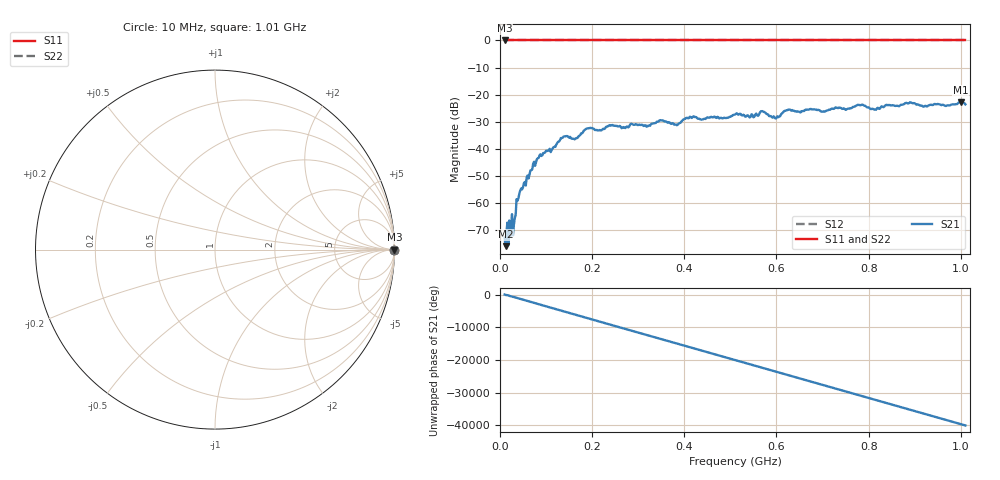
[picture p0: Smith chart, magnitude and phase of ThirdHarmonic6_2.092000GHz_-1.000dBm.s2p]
! 8/17/2025 1:02:26 AM
! C:\ANRITSUVNA\TEMP\TEMP.S2P
! CHANNEL.1
! TR.MEASUREMENT
! RAW.DATA
! RF.CORRECTION.OFF
! AVERAGING.OFF
! IF.BANDWIDTH: 5KHZ
! SWEEPTYPE:  FREQ.SWEEP(Linear)
! Reference Plane Port Info
! PORT:  PORT1  PORT2
! DISTANCE:  0  m  0  m
! TIME:  0  s  0  s
! PHASE.OFFSET:  0  deg.  0  deg.
! LOSS:  0  dB  0  dB
! REF.LOSS:  0  dB  0  dB
! REF.FREQ:  0  Hz  0  Hz
! Power Info
! POWER:  -20  dBm  -20  dBm
! EFF.POWER:  -20  dBm  -20  dBm
! SOURCE.ATTEN:  0  dB  0  dB
! TEST.ATTEN:  0  dB  0  dB
# GHZ S RI R 50.0
! FREQ.GHZ  S11RE  S11IM  S21RE  S21IM  S12RE  S12IM  S22RE  S22IM
!; PortSelection: Port_12
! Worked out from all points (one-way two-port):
!   501 points, 10 MHz to 1.01 GHz, reference 50 ohm
!   highest |S21| = -22.75 dB at 1 GHz (marker M1); lowest = -75.8 dB at 12 MHz (marker M2)
!   lowest |S11| = 0.0 dB at 10 MHz (marker M3)
!   |S11| at or under -10 dB: nowhere
!   |S22| runs from 0.0 to 0.0 dB; largest |S21 - S12| = 1.1
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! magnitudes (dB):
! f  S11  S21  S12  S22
! 10 MHz  0.0  -72.6  0.0  0.0
! 12 MHz  0.0  -75.8  0.0  0.0
! 26 MHz  0.0  -64.0  0.0  0.0
! 32 MHz  0.0  -65.5  0.0  0.0
! 40 MHz  0.0  -58.1  0.0  0.0
! 84 MHz  0.0  -43.3  0.0  0.0
! 136 MHz  0.0  -35.8  0.0  0.0
! 164 MHz  0.0  -36.1  0.0  0.0
! 178 MHz  0.0  -34.2  0.0  0.0
! 192 MHz  0.0  -32.4  0.0  0.0
! 322 MHz  0.0  -31.3  0.0  0.0
! 344 MHz  0.0  -29.8  0.0  0.0
! 382 MHz  0.0  -31.0  0.0  0.0
! 416 MHz  0.0  -28.6  0.0  0.0
! 510 MHz  0.0  -27.3  0.0  0.0
! 570 MHz  0.0  -26.1  0.0  0.0
! 600 MHz  0.0  -28.6  0.0  0.0
! 624 MHz  0.0  -25.7  0.0  0.0
! 678 MHz  0.0  -25.4  0.0  0.0
! 844 MHz  0.0  -23.8  0.0  0.0
! 1 GHz  0.0  -22.8  0.0  0.0
! 1.01 GHz  0.0  -23.6  0.0  0.0
